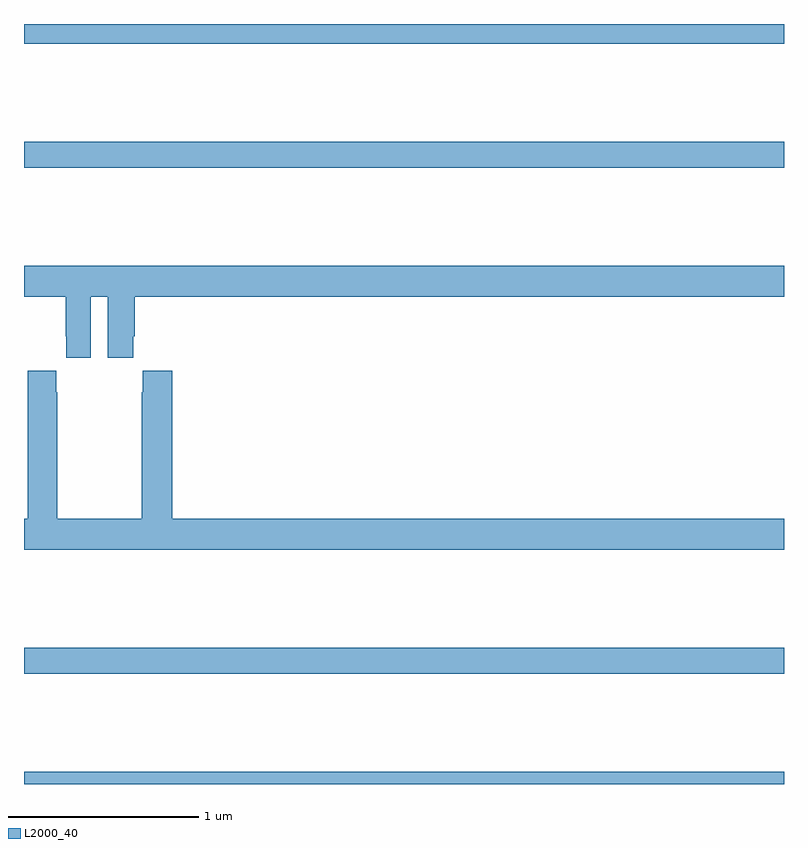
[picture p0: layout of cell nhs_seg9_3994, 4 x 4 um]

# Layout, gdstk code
import gdstk
lib = gdstk.Library(unit=1e-6, precision=1e-09)
def R(c, l, rs):  # rectangles x0, y0, x1, y1
    for r in rs: c.add(gdstk.rectangle(r[:2], r[2:], *l))
def P(c, l, *ps):  # polygons
    for p in ps: c.add(gdstk.Polygon(p, *l))
L2000_40 = (2000, 40)

nhs_seg9_3994 = lib.new_cell('nhs_seg9_3994')
R(nhs_seg9_3994, L2000_40, [(339,1216.5,343,1216.564), (339,1217.08,343,1217.216), (339,1219.744,343,1219.88), (339,1220.396,343,1220.5)])
P(nhs_seg9_3994, L2000_40, [(339.352,1219.064),(339.44,1219.064),(339.44,1218.744),(339.574,1218.744),(339.574,1218.856),(339.584,1218.856),(339.584,1219.064),(343,1219.064),(343,1219.228),(339,1219.228),(339,1219.064),(339.221,1219.064),(339.221,1218.856),(339.222,1218.856),(339.222,1218.744),(339.352,1218.744)],
  [(343,1217.896),(339.779,1217.896),(339.779,1218.676),(339.625,1218.676),(339.625,1218.563),(339.619,1218.563),(339.619,1217.896),(339.174,1217.896),(339.174,1218.563),(339.171,1218.563),(339.171,1218.676),(339.021,1218.676),(339.021,1218.563),(339.019,1218.563),(339.019,1217.896),(339,1217.896),(339,1217.732),(343,1217.732)])

lib.write_gds('nhs_seg9_3994.gds')
